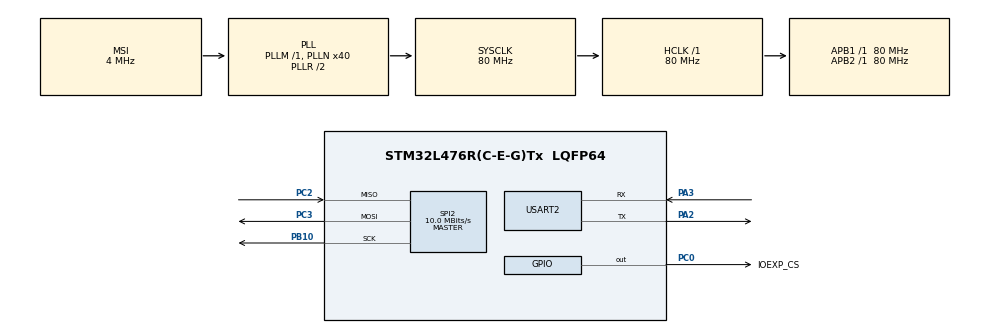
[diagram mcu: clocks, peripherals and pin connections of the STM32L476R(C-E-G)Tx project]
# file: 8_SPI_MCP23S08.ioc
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Mcu.Family=STM32L4
Mcu.Name=STM32L476R(C-E-G)Tx
Mcu.Package=LQFP64
NVIC.PriorityGroup=NVIC_PRIORITYGROUP_4
PA13\ (JTMS-SWDIO).Mode=Serial_Wire
PA13\ (JTMS-SWDIO).Signal=SYS_JTMS-SWDIO
PA14\ (JTCK-SWCLK).Mode=Serial_Wire
PA14\ (JTCK-SWCLK).Signal=SYS_JTCK-SWCLK
PA2.Mode=Asynchronous
PA2.Signal=USART2_TX
PA3.Mode=Asynchronous
PA3.Signal=USART2_RX
PB10.Mode=Full_Duplex_Master
PB10.Signal=SPI2_SCK
PC0.GPIO_Label=IOEXP_CS
PC0.PinState=GPIO_PIN_SET
PC0.Signal=GPIO_Output
PC2.Mode=Full_Duplex_Master
PC2.Signal=SPI2_MISO
PC3.Mode=Full_Duplex_Master
PC3.Signal=SPI2_MOSI
ProjectManager.HeapSize=0x200
ProjectManager.StackSize=0x400
ProjectManager.TargetToolchain=STM32CubeIDE
RCC.AHBFreq_Value=80000000
RCC.APB1Freq_Value=80000000
RCC.APB1TimFreq_Value=80000000
RCC.APB2Freq_Value=80000000
RCC.APB2TimFreq_Value=80000000
RCC.CortexFreq_Value=80000000
RCC.HCLKFreq_Value=80000000
RCC.HSE_VALUE=8000000
RCC.HSI_VALUE=16000000
RCC.LSE_VALUE=32768
RCC.MSI_VALUE=4000000
RCC.PLLN=40
RCC.SYSCLKFreq_VALUE=80000000
RCC.SYSCLKSource=RCC_SYSCLKSOURCE_PLLCLK
RCC.VCOOutputFreq_Value=160000000
SPI2.BaudRatePrescaler=SPI_BAUDRATEPRESCALER_8
SPI2.CalculateBaudRate=10.0 MBits/s
SPI2.DataSize=SPI_DATASIZE_8BIT
SPI2.Direction=SPI_DIRECTION_2LINES
SPI2.Mode=SPI_MODE_MASTER
SPI2.VirtualType=VM_MASTER
USART2.VirtualMode-Asynchronous=VM_ASYNC
board=custom

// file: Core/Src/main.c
/* USER CODE BEGIN Header */
/**
  ******************************************************************************
  * @file           : main.c
  * @brief          : Main program body
  ******************************************************************************
  * @attention
  *
  * Copyright (c) 2024 STMicroelectronics.
  * All rights reserved.
  *
  * This software is licensed under terms that can be found in the LICENSE file
  * in the root directory of this software component.
  * If no LICENSE file comes with this software, it is provided AS-IS.
  *
  ******************************************************************************
  */
/* USER CODE END Header */
#include "main.h"
#include "spi.h"
#include "usart.h"
#include "gpio.h"

/* USER CODE BEGIN Includes */
#include <stdio.h>
#include <string.h>
#include "mcp23s08.h"
/* USER CODE END Includes */

void SystemClock_Config(void);

/* USER CODE BEGIN 0 */

int __io_putchar(int ch)
{
	if(ch=='\n')
	{
		uint8_t ch2='\r';	//to fix end of line
		HAL_UART_Transmit(&huart2, (uint8_t*)&ch2, 1, HAL_MAX_DELAY);
	}
    HAL_UART_Transmit(&huart2, (uint8_t*)&ch, 1, HAL_MAX_DELAY);
    return 1;
}

/* USER CODE END 0 */

int main(void)
{

  /* MCU Configuration--------------------------------------------------------*/

  /* Reset of all peripherals, Initializes the Flash interface and the Systick. */
  HAL_Init();

  /* Configure the system clock */
  SystemClock_Config();

  /* Initialize all configured peripherals */
  MX_GPIO_Init();
  MX_SPI2_Init();
  MX_USART2_UART_Init();
  /* USER CODE BEGIN 2 */

  mcp_reg_write(MCP_IODIR,0xFE);//OUTPUT PIN SETUP
  mcp_reg_write(MCP_GPPU, 0x02);//GPI1 pull-up
  /* USER CODE END 2 */

  /* Infinite loop */
  /* USER CODE BEGIN WHILE */
  while (1)
  {
	  //printf("readed %x\n", mcp_reg_read(MCP_GPIO)); debug
	  //printf("const %x\n", 0x02);
	  if ((mcp_reg_read(MCP_GPIO) & 0x02) == 0) { //if 00000010 ->1 always 1 (pull-up)
	      //LED OFF
	      mcp_reg_write(MCP_OLAT, 0x01);
	    } else {
	      //LED ON
	      mcp_reg_write(MCP_OLAT, 0x00);
	    }
    /* USER CODE END WHILE */

  }
}

void SystemClock_Config(void)
{
  RCC_OscInitTypeDef RCC_OscInitStruct = {0};
  RCC_ClkInitTypeDef RCC_ClkInitStruct = {0};

  /** Configure the main internal regulator output voltage
  */
  if (HAL_PWREx_ControlVoltageScaling(PWR_REGULATOR_VOLTAGE_SCALE1) != HAL_OK)
  {
    Error_Handler();
  }

  /** Initializes the RCC Oscillators according to the specified parameters
  * in the RCC_OscInitTypeDef structure.
  */
  RCC_OscInitStruct.OscillatorType = RCC_OSCILLATORTYPE_MSI;
  RCC_OscInitStruct.MSIState = RCC_MSI_ON;
  RCC_OscInitStruct.MSICalibrationValue = 0;
  RCC_OscInitStruct.MSIClockRange = RCC_MSIRANGE_6;
  RCC_OscInitStruct.PLL.PLLState = RCC_PLL_ON;
  RCC_OscInitStruct.PLL.PLLSource = RCC_PLLSOURCE_MSI;
  RCC_OscInitStruct.PLL.PLLM = 1;
  RCC_OscInitStruct.PLL.PLLN = 40;
  RCC_OscInitStruct.PLL.PLLP = RCC_PLLP_DIV7;
  RCC_OscInitStruct.PLL.PLLQ = RCC_PLLQ_DIV2;
  RCC_OscInitStruct.PLL.PLLR = RCC_PLLR_DIV2;
  if (HAL_RCC_OscConfig(&RCC_OscInitStruct) != HAL_OK)
  {
    Error_Handler();
  }

  /** Initializes the CPU, AHB and APB buses clocks
  */
  RCC_ClkInitStruct.ClockType = RCC_CLOCKTYPE_HCLK|RCC_CLOCKTYPE_SYSCLK
                              |RCC_CLOCKTYPE_PCLK1|RCC_CLOCKTYPE_PCLK2;
  RCC_ClkInitStruct.SYSCLKSource = RCC_SYSCLKSOURCE_PLLCLK;
  RCC_ClkInitStruct.AHBCLKDivider = RCC_SYSCLK_DIV1;
  RCC_ClkInitStruct.APB1CLKDivider = RCC_HCLK_DIV1;
  RCC_ClkInitStruct.APB2CLKDivider = RCC_HCLK_DIV1;

  if (HAL_RCC_ClockConfig(&RCC_ClkInitStruct, FLASH_LATENCY_4) != HAL_OK)
  {
    Error_Handler();
  }
}

void Error_Handler(void)
{
  __disable_irq();
  while (1)
  {
  }
}
